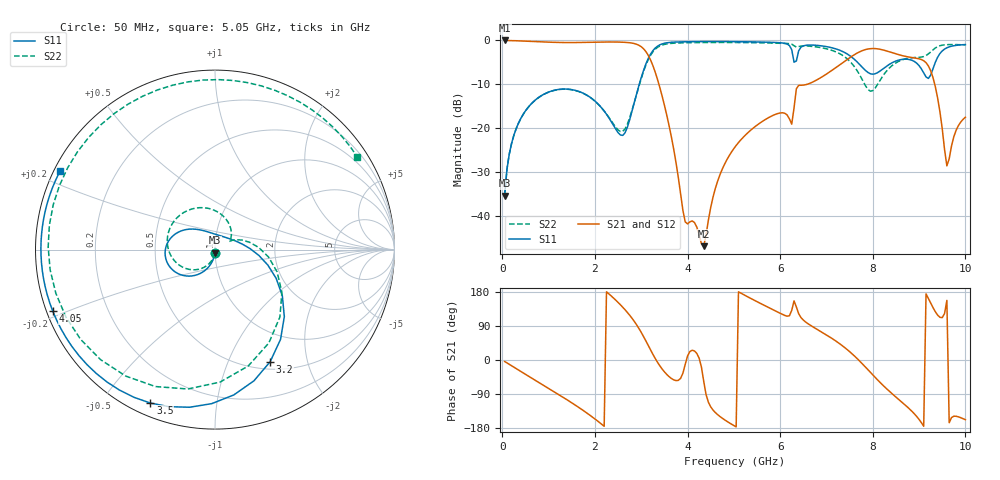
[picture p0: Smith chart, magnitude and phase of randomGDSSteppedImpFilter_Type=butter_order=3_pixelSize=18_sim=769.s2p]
! freq	dB(S11)	phase(S11)	dB(S12)	phase(S12)
!  dB(S21)	phase(S21)	dB(S22)	phase(S22)
!S-par simulation data
#  GHz  S  DB  R 50
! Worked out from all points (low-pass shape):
!   200 points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, 50 MHz to 10 GHz, reference 50 ohm
!   highest |S21| = -0.01 dB at 50 MHz (marker M1); lowest = -46.9 dB at 4.35 GHz (marker M2)
!   |S21| within 3 dB of the highest: start of sweep to 3.129 GHz; 7.642 GHz to 8.485 GHz (843.3 MHz wide, 10.5 % of centre)
!   lowest |S11| = -35.4 dB at 50 MHz (marker M3), VSWR 1.03, Z = 49.9 - j1.7 ohm
!   |S11| at or under -10 dB: start of sweep to 2.958 GHz
!   |S22| runs from -35.4 to -0.5 dB; largest |S21 - S12| = 0
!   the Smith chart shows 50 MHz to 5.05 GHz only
!   S11 on the Smith chart (normalised r, x): 50 MHz: 1.00, -0.03; 3.2 GHz: 0.59, -1.44; 3.5 GHz: 0.05, -0.66; 4.05 GHz: 0.02, -0.18; 5.05 GHz: 0.02, +0.24
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0.05  -35.37 -92.3  -0.01 -3.9  -0.01 -3.9  -35.38 -93.5
0.55  -15.36 -125.1  -0.19 -41.5  -0.19 -41.5  -15.38 -138.7
1.75  -12.05 163.2  -0.46 -133.4  -0.46 -133.4  -12.08 110.0
2.35  -18.44 119.5  -0.36 169.3  -0.36 169.3  -18.27 41.6
2.8  -16.17 11.4  -0.61 110.4  -0.61 110.4  -15.94 19.5
3.2  -3.15 -63.8  -4.42 27.0  -4.42 27.0  -3.42 -74.0
3.4  -1.02 -99.1  -10.66 -15.0  -10.66 -15.0  -1.28 -125.2
3.5  -0.65 -112.8  -14.73 -31.2  -14.73 -31.2  -0.91 -146.3
4.05  -0.29 -159.2  -41.35 22.3  -41.35 22.3  -0.52 132.4
4.35  -0.27 -175.6  -46.89 -56.5  -46.89 -56.5  -0.48 99.1
5.05  -0.29 153.2  -23.94 -176.6  -23.94 -176.6  -0.48 33.0
5.75  -0.41 124.5  -17.60 138.5  -17.60 138.5  -0.59 -23.3
6.35  -4.69 117.2  -11.01 140.0  -11.01 140.0  -1.52 -68.0
6.7  -1.06 93.4  -9.50 88.1  -9.50 88.1  -1.37 -92.1
7.35  -2.53 58.2  -5.07 37.0  -5.07 37.0  -3.43 -152.8
7.8  -6.41 42.3  -2.23 -13.2  -2.23 -13.2  -9.51 123.5
8.35  -5.50 51.9  -2.56 -81.6  -2.56 -81.6  -6.38 -42.9
8.9  -4.81 -3.4  -4.00 -142.3  -4.00 -142.3  -3.90 -98.0
9.15  -8.32 -88.2  -5.08 174.4  -5.08 174.4  -3.44 -107.2
9.35  -5.01 146.3  -10.51 127.6  -10.51 127.6  -1.73 -117.4
9.6  -1.68 77.4  -28.59 157.4  -28.59 157.4  -0.96 -138.6
10  -0.95 31.4  -17.50 -157.6  -17.50 -157.6  -1.01 -165.0
